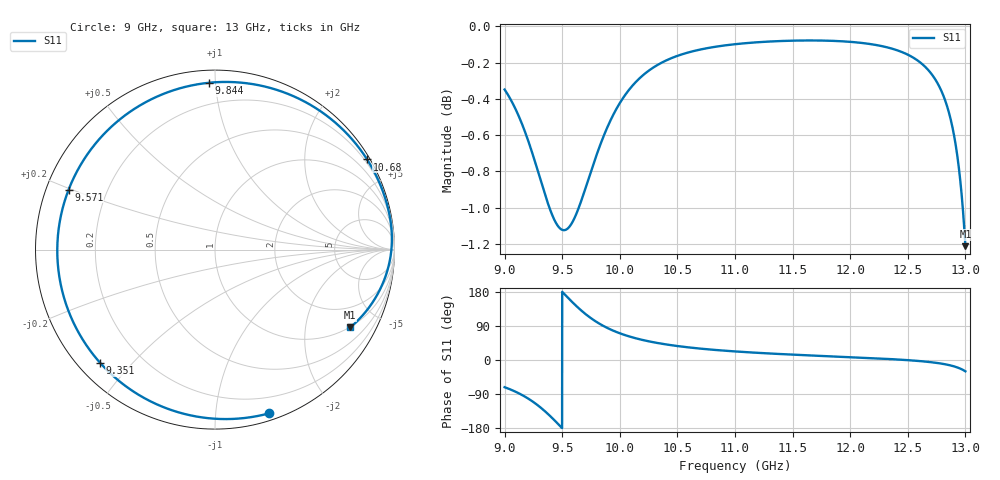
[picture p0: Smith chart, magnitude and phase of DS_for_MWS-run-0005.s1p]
! TOUCHSTONE file generated by CST DESIGN STUDIO
! Date and time: Tue Feb  4 18:04:52 2025
! Project name: C:\Work\MatlabApps\UnitCellOptimizationMatlab\CST\unitcell.cst
! Tree item: Tasks\Sweep1\SPara1\S-Parameters
! Header version: 2024
! Port assignment regex: !\s*Touchstone port\s*([0-9]+)\s*=\s*(CST MWS port|CST DES external port|CST DES block port)\s*(.+)\s* \(\"(.*)\"\)(\s*mode\s*([0-9]+))?.*
! Touchstone port assignment:
! Touchstone port 1 = CST DES external port 1 ("")
# GHz S MA R 50
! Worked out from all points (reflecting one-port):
!   4001 points, 9 GHz to 13 GHz, reference 50 ohm
!   lowest |S11| = -1.2 dB at 13 GHz (marker M1), VSWR 14.35, Z = 49.1 - j175 ohm
!   phase of S11 starts at -72 deg and turns -318 deg over the sweep
!   S11 on the Smith chart (normalised r, x): 9 GHz: 0.06, -1.38; 9.351 GHz: 0.06, -0.41; 9.571 GHz: 0.07, +0.20; 9.844 GHz: 0.07, +0.96; 10.68 GHz: 0.11, +3.64; 13 GHz: 0.98, -3.49
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9  0.9607 -71.8
9.094  0.949 -83.6
9.203  0.9303 -101.5
9.28  0.9141 -117.7
9.351  0.8987 -135.4
9.431  0.8845 -158.5
9.5  0.8788 180.0
9.535  0.8789 168.9
9.571  0.8812 157.7
9.638  0.8902 138.1
9.702  0.9023 121.4
9.769  0.9159 106.3
9.844  0.93 92.2
9.921  0.9423 80.4
10  0.9525 70.5
10.102  0.9624 60.4
10.216  0.9704 51.6
10.347  0.9766 43.8
10.5  0.9815 36.9
10.678  0.9851 30.7
11  0.9888 22.6
11.5  0.991 14.2
12  0.9903 7.5
12.5  0.9822 -0.4
12.695  0.9712 -5.5
12.838  0.9513 -12.1
12.926  0.9229 -19.2
13  0.8697 -29.9
